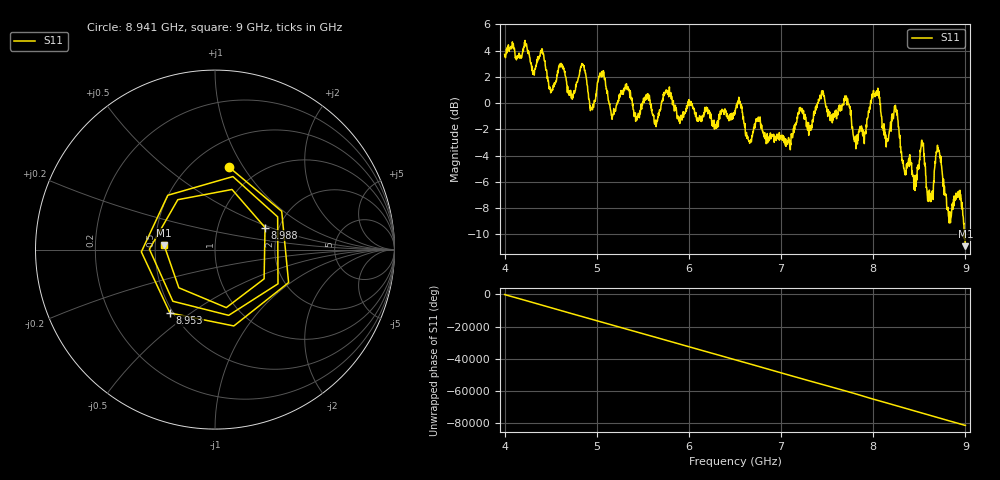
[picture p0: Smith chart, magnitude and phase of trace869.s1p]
! Created with skrf 1.8.0 (http://scikit-rf.org).
# Hz S RI R 50.0
!freq ReS11 ImS11
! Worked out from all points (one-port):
!   1601 points, 4 GHz to 9 GHz, reference 50 ohm
!   lowest |S11| = -10.9 dB at 9 GHz (marker M1), VSWR 1.80, Z = 27.9 + j1.56 ohm
!   |S11| at or under -10 dB: 8.986891 GHz to 8.990508 GHz (3.618 MHz wide, 0.0402 % of centre); 8.995044 GHz to end of sweep
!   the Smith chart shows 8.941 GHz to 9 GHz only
!   S11 on the Smith chart (normalised r, x): 8.941 GHz: 0.74, +0.87; 8.953 GHz: 0.48, -0.42; 8.988 GHz: 1.69, +0.46; 9 GHz: 0.56, +0.03
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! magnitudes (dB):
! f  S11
! 4 GHz  3.7
! 4.403 GHz  4.1
! 4.506 GHz  0.9
! 4.625 GHz  2.9
! 4.734 GHz  0.3
! 4.853 GHz  2.9
! 4.944 GHz  -0.3
! 5.053 GHz  2.4
! 5.169 GHz  -1.0
! 5.25 GHz  0.4
! 5.875 GHz  -1.2
! 6.5 GHz  -0.6
! 7.125 GHz  -2.6
! 7.444 GHz  0.9
! 7.75 GHz  -0.3
! 7.812 GHz  -3.5
! 8.047 GHz  0.7
! 8.144 GHz  -2.7
! 8.247 GHz  -0.6
! 8.375 GHz  -4.6
! 8.534 GHz  -3.0
! 8.625 GHz  -7.2
! 8.703 GHz  -3.4
! 8.822 GHz  -8.8
! 8.941 GHz  -6.6
! 8.953 GHz  -7.3
! 8.988 GHz  -10.3
! 9 GHz  -10.9
